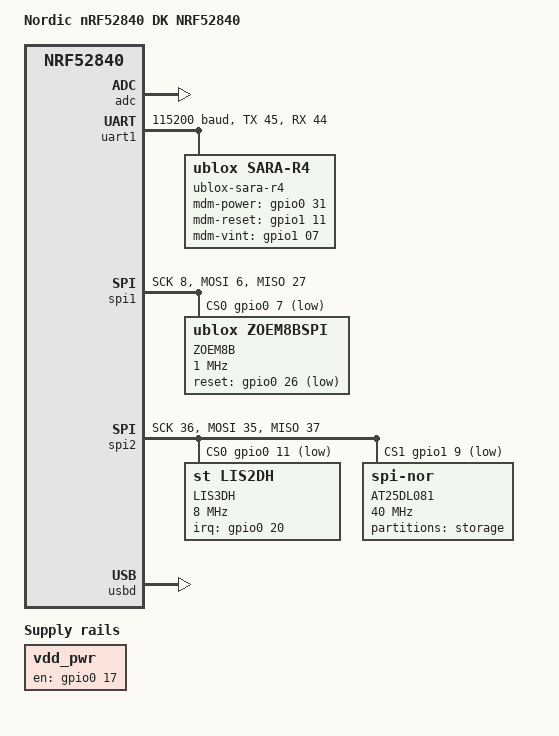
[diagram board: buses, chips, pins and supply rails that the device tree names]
/*
 * Copyright (c) 2017 Linaro Limited
 *
 * SPDX-License-Identifier: Apache-2.0
 */

/dts-v1/;
#include <nordic/nrf52840_qiaa.dtsi>

/ {
	model = "Nordic nRF52840 DK NRF52840";
	compatible = "nordic,nrf52840-dk-nrf52840";

	chosen {
		zephyr,console = &uart0;
		zephyr,shell-uart = &uart0;
		zephyr,uart-mcumgr = &uart0;
		zephyr,bt-mon-uart = &uart0;
		zephyr,bt-c2h-uart = &uart0;
		zephyr,sram = &sram0;
		zephyr,flash = &flash0;
		zephyr,code-partition = &slot0_partition;
	};


	vdd_pwr: vdd-pwr-ctrl {
		compatible = "regulator-fixed-sync", "regulator-fixed";
		label = "vdd-pwr-ctrl";
		regulator-name = "vdd-pwr-ctrl";
		enable-gpios = <&gpio0 17 GPIO_ACTIVE_HIGH>;
		regulator-boot-on;
		};

};

&adc {
	status = "okay";
};

&gpiote {
	status = "okay";
};

&gpio0 {
	status = "okay";
};

&gpio1 {
	status = "okay";
};


&uart1 { /* u-blox SARA-U2 or SARA-R4 */
    compatible = "nordic,nrf-uarte";
	current-speed = <115200>;
	status = "okay";
	tx-pin = <45>; /* AS diagram */
	rx-pin = <44>; /* As diagram */
//	rts-pin = <39>;
//	cts-pin = <38>;
//	hw-flow-control;

	sara_r4 {
		compatible = "ublox,sara-r4";
		label = "ublox-sara-r4";
		status = "okay";

		 mdm-power-gpios = <&gpio0 31 0 >;
		//mdm-power-gpios = <&gpio1 11 GPIO_ACTIVE_LOW>;
		mdm-reset-gpios = <&gpio1 11 0>;
		mdm-vint-gpios = <&gpio1 07 0>;
	};
};


&i2c1 {
	compatible = "nordic,nrf-twi";
	/* Cannot be used together with spi1. */
	 status = "disabled";
	sda-pin = <30>;
	scl-pin = <31>;
};

&pwm0 {
	 status = "disabled";
	ch0-pin = <27>;
	ch0-inverted;
};

&spi0 {
	compatible = "nordic,nrf-spi";
	/* Cannot be used together with i2c0. */
	status = "disabled";
	sck-pin = <27>;
	mosi-pin = <26>;
	miso-pin = <29>;
};

&spi1 {
	compatible = "nordic,nrf-spim";
	status = "okay";
	sck-pin = <8>;    /* P 0.08 */
	mosi-pin = <06>;  /* P 0.27 */
	miso-pin = <27>;  /* P 0.06 */

	cs-gpios = <&gpio0 7 GPIO_ACTIVE_LOW>;  /* CS GPS */

	zoem8b@0 {
				 compatible = "ublox,zoem8bspi";
				 label = "ZOEM8B";
				 status="okay";
				 spi-max-frequency = <1000000>;
				 reg = <0>;
				 reset-gpios = <&gpio0 26 GPIO_ACTIVE_LOW>;  /* RESET1 GPS */
   };

};

/* TODO https://drive.google.com/file/d/1WL7-PLfckdqEzlq5WGDCYJcrYrQnqmVO/view?usp=sharing */
&spi2 {
		compatible = "nordic,nrf-spim";
		status = "okay";
		sck-pin =  <36>;      /* P 1.04 */
		mosi-pin = <35>;      /* P 1.03 */
		miso-pin = <37>;      /* P 1.05 */
		cs-gpios = <&gpio0 11 GPIO_ACTIVE_LOW>, /* CS ACC */
	               <&gpio1 9 GPIO_ACTIVE_LOW>;  /* CS Flash */

		lis3dh@0 {
					  compatible = "st,lis2dh";
					  status="okay";
					  label = "LIS3DH";
					  spi-max-frequency = <8000000>;
					  reg = <0>;
					  irq-gpios = <&gpio0 20 0>;   /* INT2_TILT P0.20 */
	   };
	   at25dl081: at25dl081@1 {
						    /* https://no.mouser.com/datasheet/2/590/doc8732-1385712.pdf */
							 compatible = "jedec,spi-nor";
							 status="okay";
							 label = "AT25DL081";
							 reg = < 1 >;
							 spi-max-frequency = < 40000000 >;
							 has-lock = < 0xBC >;   /* Important: clears the protection flags */
							 size = < 0x800000 >;
							 has-dpd;
							 t-enter-dpd = < 3000 >;
							 t-exit-dpd = < 30000 >;
							 jedec-id = [ 1f 45 02 ];
	  };

};

&flash0 {
	partitions {
		compatible = "fixed-partitions";
		#address-cells = <1>;
		#size-cells = <1>;

		boot_partition: partition@0 {
			label = "mcuboot";
			reg = <0x000000000 0x0000C000>;
		};
		slot0_partition: partition@c000 {
			label = "image-0";
			reg = <0x0000C000 0x00067000>;
		};
		slot1_partition: partition@73000 {
			label = "image-1";
			reg = <0x00073000 0x00067000>;
		};
		scratch_partition: partition@da000 {
			label = "image-scratch";
			reg = <0x000da000 0x0001e000>;
		};

		/*
		 * The flash starting at 0x000f8000 and ending at
		 * 0x000fffff is reserved for use by the application.
		 */

	};
};

&at25dl081 {
	partitions {
		compatible = "fixed-partitions";
		#address-cells = <1>;
		#size-cells = <1>;

		/*
		 * Storage partition will be used by FCB/LittleFS/NVS
		 * if enabled.
		 */
		storage_partition: partition@f8000 {
			label = "storage";
			reg = <0x000f8000 0x00008000>;
		};
	};
};

&usbd {
	compatible = "nordic,nrf-usbd";
	status = "okay";
};
